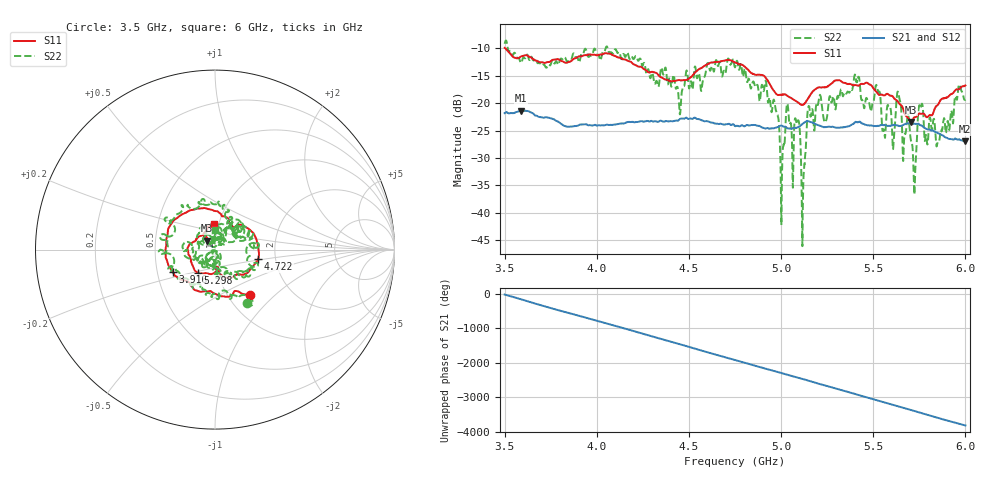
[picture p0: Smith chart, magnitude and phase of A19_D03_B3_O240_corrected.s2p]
! Created with skrf 1.9.0 (http://scikit-rf.org).
# Hz S RI R 50.0
!freq ReS11 ImS11 ReS21 ImS21 ReS12 ImS12 ReS22 ImS22
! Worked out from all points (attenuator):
!   1601 points, 3.5 GHz to 6 GHz, reference 50 ohm
!   highest |S21| = -21.36 dB at 3.591 GHz (marker M1); lowest = -27.0 dB at 5.997 GHz (marker M2)
!   lowest |S11| = -23.5 dB at 5.705 GHz (marker M3), VSWR 1.14, Z = 45.5 + j4.53 ohm
!   |S11| at or under -10 dB: 3.503 GHz to end of sweep
!   |S22| runs from -46.1 to -8.6 dB; largest |S21 - S12| = 0.001
!   S11 on the Smith chart (normalised r, x): 3.5 GHz: 1.26, -0.71; 3.916 GHz: 0.60, -0.16; 4.722 GHz: 1.62, -0.18; 5.298 GHz: 0.80, -0.21; 6 GHz: 0.95, +0.28
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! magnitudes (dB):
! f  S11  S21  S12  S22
! 3.5 GHz  -9.9  -21.8  -21.8  -9.2
! 3.591 GHz  -11.5  -21.4  -21.3  -12.7
! 3.916 GHz  -11.5  -23.9  -23.9  -11.1
! 3.917 GHz  -11.5  -23.9  -23.9  -11.0
! 4.334 GHz  -14.9  -23.4  -23.3  -17.0
! 4.722 GHz  -12.2  -23.8  -23.8  -12.7
! 4.75 GHz  -12.6  -24.2  -24.1  -13.5
! 4.967 GHz  -18.0  -24.5  -24.5  -20.4
! 5.006 GHz  -18.5  -24.1  -24.1  -30.9
! 5.034 GHz  -18.7  -24.6  -24.5  -20.1
! 5.088 GHz  -19.8  -24.4  -24.4  -23.6
! 5.12 GHz  -20.3  -23.7  -23.6  -35.0
! 5.145 GHz  -19.2  -23.3  -23.2  -21.1
! 5.167 GHz  -18.1  -23.5  -23.5  -21.2
! 5.298 GHz  -15.8  -24.5  -24.4  -20.5
! 5.584 GHz  -18.5  -24.1  -24.1  -20.6
! 5.705 GHz  -23.5  -23.8  -23.7  -26.8
! 5.723 GHz  -22.6  -23.7  -23.7  -36.6
! 5.756 GHz  -21.9  -24.0  -24.0  -20.9
! 5.85 GHz  -20.3  -25.5  -25.4  -27.1
! 5.997 GHz  -16.9  -27.0  -26.9  -19.4
! 6 GHz  -16.8  -27.0  -26.9  -19.4
